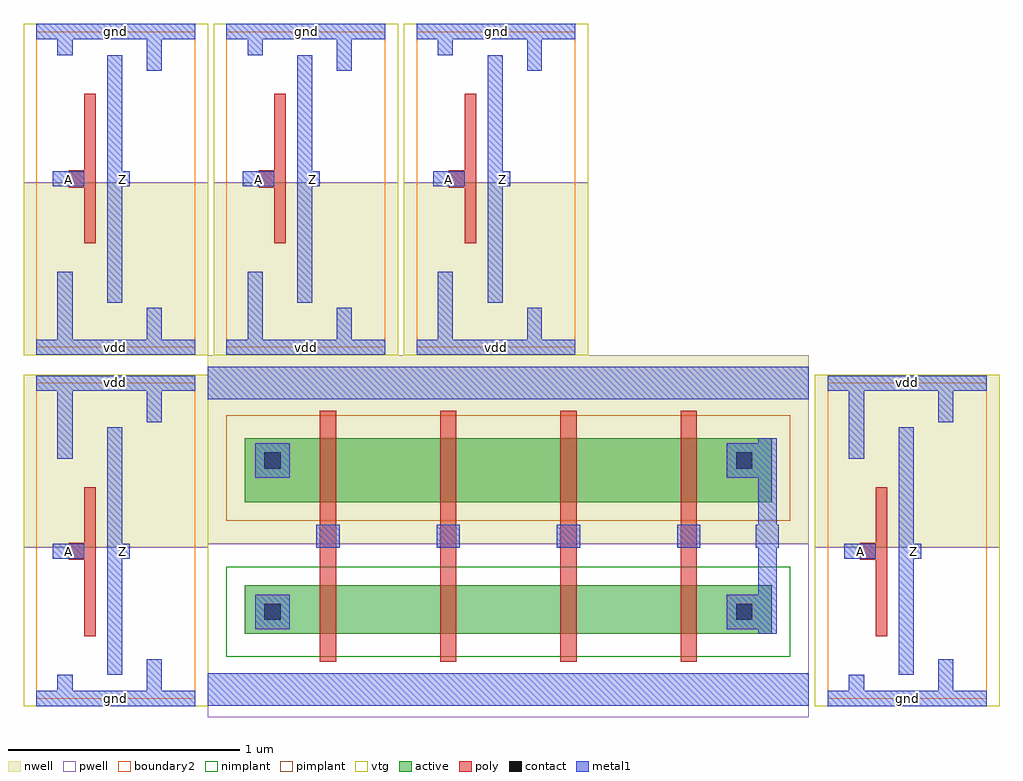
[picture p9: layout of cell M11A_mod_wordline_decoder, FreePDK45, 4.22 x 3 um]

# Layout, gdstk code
import gdstk
lib = gdstk.Library(unit=1e-6, precision=1e-09)
def R(c, l, rs):  # rectangles x0, y0, x1, y1
    for r in rs: c.add(gdstk.rectangle(r[:2], r[2:], *l))
def A(c, l, x, y, w, h, nx, ny, dx, dy):  # array of equal rectangles
    R(c, l, [(x+i*dx, y+j*dy, x+i*dx+w, y+j*dy+h) for i in range(nx) for j in range(ny)])
active = (1, 0)
pwell = (2, 0)
nwell = (3, 0)
nimplant = (4, 0)
pimplant = (5, 0)
vtg = (6, 0)
poly = (9, 0)
contact = (10, 0)
metal1 = (11, 0)
boundary2 = (239, 0)

m11a_mod_wordline_decode = lib.new_cell('M11A_mod_wordline_decoder')
R(m11a_mod_wordline_decode, active, [(0.982,0.36,3.262,0.57), (0.982,0.93,3.262,1.205)])
R(m11a_mod_wordline_decode, pwell, [(0.822,0,3.422,0.75), (0.025,0.047,0.823,0.735), (3.448,0.047,4.246,0.735), (0.025,2.31,0.823,2.998), (0.847,2.31,1.645,2.998), (1.67,2.31,2.468,2.998)])
R(m11a_mod_wordline_decode, nwell, [(0.025,0.735,0.823,1.48), (3.448,0.735,4.246,1.48), (0.822,0.75,3.422,1.565), (0.025,1.565,0.823,2.31), (0.847,1.565,1.645,2.31), (1.67,1.565,2.468,2.31)])
R(m11a_mod_wordline_decode, nimplant, [(0.902,0.26,3.342,0.65)])
R(m11a_mod_wordline_decode, pimplant, [(0.902,0.85,3.342,1.305)])
R(m11a_mod_wordline_decode, vtg, [(0.025,0.047,0.823,0.735), (3.448,0.047,4.246,0.735), (0.025,0.735,0.823,1.48), (3.448,0.735,4.246,1.48), (0.025,1.565,0.823,2.31), (0.847,1.565,1.645,2.31), (1.67,1.565,2.468,2.31), (0.025,2.31,0.823,2.998), (0.847,2.31,1.645,2.998), (1.67,2.31,2.468,2.998)])
A(m11a_mod_wordline_decode, poly, 1.307, 0.24, 0.07, 1.085, 4, 1, 0.52, 0)
R(m11a_mod_wordline_decode, poly, [(0.288,0.35,0.338,0.995), (3.711,0.35,3.761,0.995), (0.22,0.68,0.288,0.755), (3.643,0.68,3.711,0.755), (0.288,2.05,0.338,2.695), (1.11,2.05,1.16,2.695), (1.933,2.05,1.983,2.695), (0.22,2.29,0.288,2.365), (1.042,2.29,1.11,2.365), (1.865,2.29,1.933,2.365)])
R(m11a_mod_wordline_decode, contact, [(1.067,0.42,1.137,0.49), (3.107,0.42,3.177,0.49), (1.067,1.075,1.137,1.145), (3.107,1.075,3.177,1.145)])
A(m11a_mod_wordline_decode, metal1, 1.292, 0.733, 0.1, 0.099, 4, 1, 0.52, 0)
R(m11a_mod_wordline_decode, metal1, [(0.08,0.047,0.767,0.113), (0.172,0.047,0.237,0.183), (3.503,0.047,4.19,0.113), (3.595,0.047,3.66,0.183), (0.822,0.05,3.422,0.19), (2.072,0.07,2.172,0.17), (0.558,0.08,0.622,0.25), (3.981,0.08,4.045,0.25), (0.387,0.183,0.452,1.253), (3.81,0.183,3.875,1.253), (3.202,0.36,3.282,1.205), (1.027,0.38,1.177,0.53), (3.067,0.38,3.217,0.53), (0.152,0.685,0.288,0.75), (0.42,0.685,0.485,0.75), (3.575,0.685,3.711,0.75), (3.843,0.685,3.908,0.75), (3.192,0.733,3.292,0.832), (1.027,1.035,1.177,1.185), (3.067,1.035,3.217,1.185), (0.172,1.118,0.237,1.477), (3.595,1.118,3.66,1.477), (0.558,1.275,0.622,1.445), (3.981,1.275,4.045,1.445), (0.822,1.375,3.422,1.515), (2.072,1.395,2.172,1.495), (0.08,1.412,0.767,1.477), (3.503,1.412,4.19,1.477), (0.08,1.568,0.767,1.633), (0.172,1.568,0.237,1.927), (0.902,1.568,1.589,1.633), (0.994,1.568,1.059,1.927), (1.725,1.568,2.412,1.633), (1.817,1.568,1.882,1.927), (0.558,1.6,0.622,1.77), (1.38,1.6,1.444,1.77), (2.203,1.6,2.267,1.77), (0.387,1.792,0.452,2.862), (1.209,1.792,1.274,2.862), (2.032,1.792,2.097,2.862), (0.152,2.295,0.288,2.36), (0.42,2.295,0.485,2.36), (0.974,2.295,1.11,2.36), (1.242,2.295,1.307,2.36), (1.797,2.295,1.933,2.36), (2.065,2.295,2.13,2.36), (0.558,2.795,0.622,2.965), (1.38,2.795,1.444,2.965), (2.203,2.795,2.267,2.965), (0.172,2.862,0.237,2.998), (0.994,2.862,1.059,2.998), (1.817,2.862,1.882,2.998), (0.08,2.932,0.767,2.998), (0.902,2.932,1.589,2.998), (1.725,2.932,2.412,2.998)])
R(m11a_mod_wordline_decode, boundary2, [(0.08,0.08,0.767,1.445), (0.08,0.08,0.767,1.445), (3.503,0.08,4.19,1.445), (3.503,0.08,4.19,1.445), (0.08,1.6,0.767,2.965), (0.08,1.6,0.767,2.965), (0.902,1.6,1.589,2.965), (0.902,1.6,1.589,2.965), (1.725,1.6,2.412,2.965), (1.725,1.6,2.412,2.965)])
m11a_mod_wordline_decode.add(gdstk.Label('A', (0.22,0.718), layer=11, texttype=0))
m11a_mod_wordline_decode.add(gdstk.Label('Z', (0.452,0.718), layer=11, texttype=0))
m11a_mod_wordline_decode.add(gdstk.Label('gnd', (0.425,0.08), layer=11, texttype=0))
m11a_mod_wordline_decode.add(gdstk.Label('vdd', (0.425,1.445), layer=11, texttype=0))
m11a_mod_wordline_decode.add(gdstk.Label('A', (1.865,2.327), layer=11, texttype=0))
m11a_mod_wordline_decode.add(gdstk.Label('Z', (2.097,2.327), layer=11, texttype=0))
m11a_mod_wordline_decode.add(gdstk.Label('gnd', (2.07,2.965), layer=11, texttype=0))
m11a_mod_wordline_decode.add(gdstk.Label('vdd', (2.07,1.6), layer=11, texttype=0))
m11a_mod_wordline_decode.add(gdstk.Label('A', (1.042,2.327), layer=11, texttype=0))
m11a_mod_wordline_decode.add(gdstk.Label('Z', (1.274,2.327), layer=11, texttype=0))
m11a_mod_wordline_decode.add(gdstk.Label('gnd', (1.247,2.965), layer=11, texttype=0))
m11a_mod_wordline_decode.add(gdstk.Label('vdd', (1.247,1.6), layer=11, texttype=0))
m11a_mod_wordline_decode.add(gdstk.Label('A', (0.22,2.327), layer=11, texttype=0))
m11a_mod_wordline_decode.add(gdstk.Label('Z', (0.452,2.327), layer=11, texttype=0))
m11a_mod_wordline_decode.add(gdstk.Label('gnd', (0.425,2.965), layer=11, texttype=0))
m11a_mod_wordline_decode.add(gdstk.Label('vdd', (0.425,1.6), layer=11, texttype=0))
m11a_mod_wordline_decode.add(gdstk.Label('A', (3.643,0.718), layer=11, texttype=0))
m11a_mod_wordline_decode.add(gdstk.Label('Z', (3.875,0.718), layer=11, texttype=0))
m11a_mod_wordline_decode.add(gdstk.Label('gnd', (3.848,0.08), layer=11, texttype=0))
m11a_mod_wordline_decode.add(gdstk.Label('vdd', (3.848,1.445), layer=11, texttype=0))

lib.write_gds('M11A_mod_wordline_decoder.gds')
